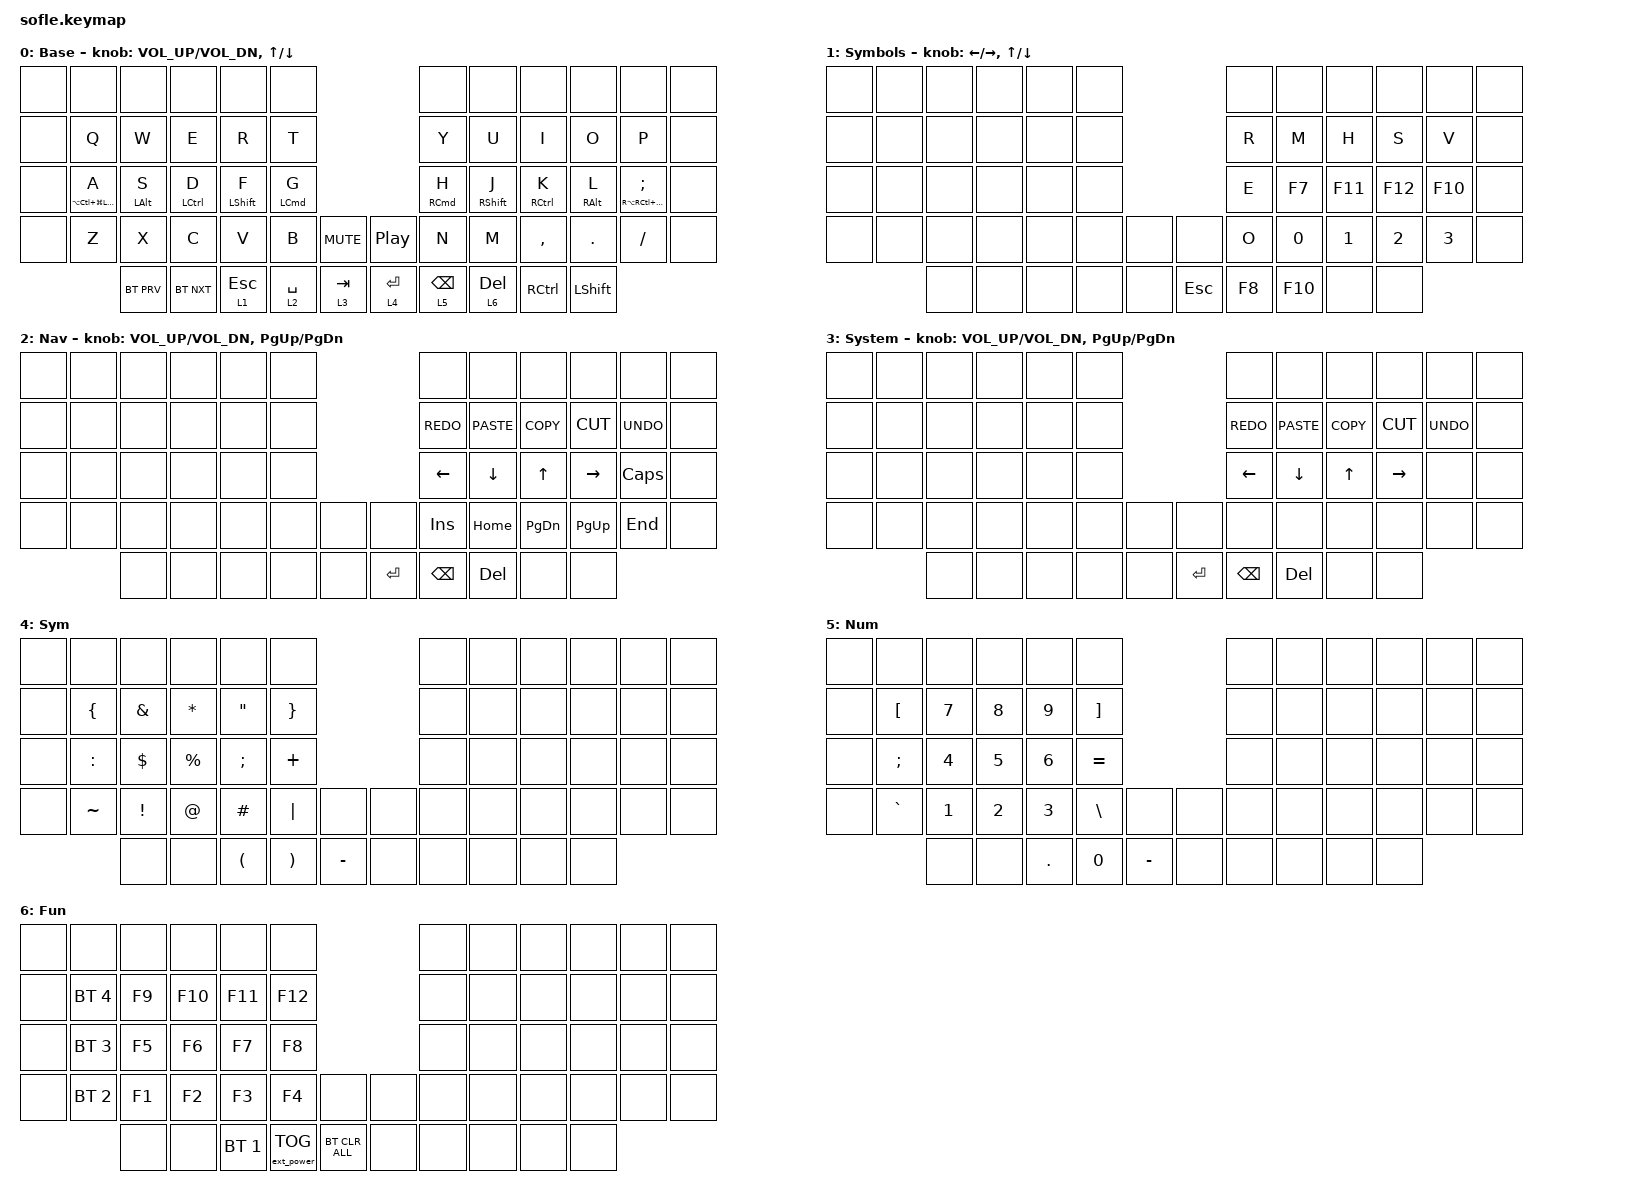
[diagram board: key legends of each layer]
/*
 * Copyright (c) 2020 The ZMK Contributors
 *
 * SPDX-License-Identifier: MIT
 */

#include <behaviors.dtsi>
#include <dt-bindings/zmk/bt.h>
#include <dt-bindings/zmk/ext_power.h>
#include <dt-bindings/zmk/keys.h>

// Encoders

&sensors { triggers-per-rotation = <30>; };

&left_encoder { steps = <60>; };

&right_encoder { steps = <60>; };

#define BASE 0
#define LOWER 1
#define RAISE 2
#define ADJUST 3

&mt { flavor = "tap-preferred"; };

&lt { flavor = "tap-preferred"; };

/ {
    // Activate ADJUST layer by pressing raise and lower

    conditional_layers {
        compatible = "zmk,conditional-layers";

        adjust_layer {
            if-layers = <1 2>;
            then-layer = <3>;
        };
    };

    combos {
        compatible = "zmk,combos";

        backspace {
            bindings = <&kp BACKSPACE>;
            key-positions = <32 31>;
        };

        delete {
            bindings = <&kp DELETE>;
            key-positions = <27 33>;
        };

        esc {
            bindings = <&kp ESCAPE>;
            key-positions = <25 41>;
        };
    };

    behaviors {
        caps: caps {
            compatible = "zmk,behavior-caps-word";
            label = "CAPS";
            #binding-cells = <0>;
            continue-list = <POUND MINUS BACKSPACE UNDERSCORE>;
        };
    };

    keymap {
        compatible = "zmk,keymap";

        default_layer {
            display-name = "Base";

            // ------------------------------------------------------------------------------------------------------------
            // |   `   |  1  |  2  |  3   |  4   |  5   |                   |  6   |  7    |  8    |  9   |   0   |       |
            // |  ESC  |  Q  |  W  |  E   |  R   |  T   |                   |  Y   |  U    |  I    |  O   |   P   | BKSPC |
            // |  TAB  |  A  |  S  |  D   |  F   |  G   |                   |  H   |  J    |  K    |  L   |   ;   |   '   |
            // | SHIFT |  Z  |  X  |  C   |  V   |  B   |  MUTE  |  |       |  N   |  M    |  ,    |  .   |   /   | SHIFT |
            //               | GUI | ALT  | CTRL | LOWER|  ENTER |  | SPACE | RAISE| CTRL  | ALT   | GUI  |

            bindings = <
&none  &none                         &none           &none               &none             &none                                               &none                &none              &none                &none            &none                                  &none
&none  &kp Q                         &kp W           &kp E               &kp R             &kp T                                               &kp Y                &kp U              &kp I                &kp O            &kp P                                  &none
&none  &mt LA(LC(LG(LEFT_SHIFT))) A  &mt LEFT_ALT S  &mt LEFT_CONTROL D  &mt LEFT_SHIFT F  &mt LEFT_COMMAND G                                  &mt RIGHT_COMMAND H  &mt RIGHT_SHIFT J  &mt RIGHT_CONTROL K  &mt RIGHT_ALT L  &mt RA(RC(RG(RIGHT_SHIFT))) SEMICOLON  &none
&none  &kp Z                         &kp X           &kp C               &kp V             &kp B               &kp C_MUTE    &kp C_PLAY_PAUSE  &kp N                &kp M              &kp COMMA            &kp DOT          &kp FSLH                               &none
                                     &bt BT_PRV      &bt BT_NXT          &lt 1 ESCAPE      &lt 2 SPACE         &lt 3 TAB     &lt 4 ENTER       &lt 5 BACKSPACE      &lt 6 DELETE       &kp RIGHT_CONTROL    &kp LEFT_SHIFT
            >;

            sensor-bindings = <&inc_dec_kp C_VOL_UP C_VOL_DN &inc_dec_kp UP DOWN>;
        };

        Media {
            display-name = "Symbols";

            // TODO: Some binds are waiting for shifted keycode support.
            // ------------------------------------------------------------------------------------------------------------
            // |       |  F1 |  F2 |  F3  |  F4  |  F5  |                   |  F6  |  F7   |  F8   |  F9  |  F10  |  F11  |
            // |   `   |  1  |  2  |  3   |  4   |  5   |                   |  6   |  7    |  8    |  9   |   0   |  F12  |
            // |       |  !  |  @  |  #   |  $   |  %   |                   |  ^   |  &    |  *    |  (   |   )   |   |   |
            // |       |  =  |  -  |  +   |  {   |  }   |        |  |       |  [   |  ]    |  ;    |  :   |   \   |       |
            //               |     |      |      |      |        |  |       |      |       |       |      |

            bindings = <
&none  &none  &none  &none  &none  &none                       &none   &none    &none    &none    &none    &none
&none  &none  &none  &none  &none  &none                       &kp R   &kp M    &kp H    &kp S    &kp V    &none
&none  &none  &none  &none  &none  &none                       &kp E   &kp F7   &kp F11  &kp F12  &kp F10  &none
&none  &none  &none  &none  &none  &none  &none    &none       &kp O   &kp N0   &kp N1   &kp N2   &kp N3   &none
              &none  &none  &none  &none  &none    &kp ESCAPE  &kp F8  &kp F10  &none    &none
            >;

            sensor-bindings =
                <&inc_dec_kp LEFT_ARROW RIGHT_ARROW>,
                <&inc_dec_kp UP_ARROW DOWN_ARROW>;
        };

        Navigation {
            display-name = "Nav";

            // ------------------------------------------------------------------------------------------------------------
            // | BTCLR | BT1  | BT2  |  BT3  |  BT4  |  BT5 |                |      |      |       |      |       |       |
            // |       | INS  | PSCR | GUI   |       |      |                | PGUP |      |   ^   |      |       |       |
            // |       | ALT  | CTRL | SHIFT |       | CAPS |                | PGDN |   <- |   v   |  ->  |  DEL  | BKSPC |
            // |       | UNDO | CUT  | COPY  | PASTE |      |      |  |      |      |      |       |      |       |       |
            //                |      |       |       |      |      |  |      |      |      |       |      |

            bindings = <
&none  &none  &none  &none  &none  &none                      &none           &none           &none          &none        &none         &none
&none  &none  &none  &none  &none  &none                      &kp K_REDO      &kp K_PASTE     &kp K_COPY     &kp K_CUT    &kp K_UNDO    &none
&none  &none  &none  &none  &none  &none                      &kp LEFT_ARROW  &kp DOWN_ARROW  &kp UP_ARROW   &kp RIGHT    &kp CAPSLOCK  &none
&none  &none  &none  &none  &none  &none  &none    &none      &kp INSERT      &kp HOME        &kp PAGE_DOWN  &kp PAGE_UP  &kp END       &none
              &none  &none  &none  &none  &none    &kp ENTER  &kp BACKSPACE   &kp DELETE      &none          &none
            >;

            sensor-bindings = <&inc_dec_kp C_VOL_UP C_VOL_DN &inc_dec_kp PG_UP PG_DN>;
        };

        Mouse {
            // ----------------------------------------------------------------------------------------------------------------------------
            // | BTCLR  |  BT1    |  BT2    |   BT3   |   BT4   |   BT5   |                  |      |      |       |      |       |       |
            // | EXTPWR | RGB_HUD | RGB_HUI | RGB_SAD | RGB_SAI | RGB_EFF |                  |      |      |       |      |       |       |
            // |        | RGB_BRD | RGB_BRI |         |         |         |                  |      |      |       |      |       |       |
            // |        |         |         |         |         |         | RGB_TOG | |      |      |      |       |      |       |       |
            //                    |         |         |         |         |         | |      |      |      |       |      |

            display-name = "System";
            bindings = <
&none  &none  &none  &none  &none  &none                      &none           &none           &none         &none            &none       &none
&none  &none  &none  &none  &none  &none                      &kp K_REDO      &kp K_PASTE     &kp K_COPY    &kp K_CUT        &kp K_UNDO  &none
&none  &none  &none  &none  &none  &none                      &kp LEFT_ARROW  &kp DOWN_ARROW  &kp UP_ARROW  &kp RIGHT_ARROW  &none       &none
&none  &none  &none  &none  &none  &none  &none    &none      &none           &none           &none         &none            &none       &none
              &none  &none  &none  &none  &none    &kp ENTER  &kp BACKSPACE   &kp DELETE      &none         &none
            >;

            sensor-bindings = <&inc_dec_kp C_VOL_UP C_VOL_DN &inc_dec_kp PG_UP PG_DN>;
        };

        Sym {
            bindings = <
&none  &none           &none            &none         &none                 &none                                      &none  &none  &none  &none  &none  &none
&none  &kp LEFT_BRACE  &kp AMPERSAND    &kp ASTERISK  &kp DOUBLE_QUOTES     &kp RIGHT_BRACE                            &none  &none  &none  &none  &none  &none
&none  &kp COLON       &kp DOLLAR       &kp PERCENT   &kp SEMICOLON         &kp PLUS                                   &none  &none  &none  &none  &none  &none
&none  &kp TILDE       &kp EXCLAMATION  &kp AT_SIGN   &kp HASH              &kp PIPE               &none        &none  &none  &none  &none  &none  &none  &none
                       &none            &none         &kp LEFT_PARENTHESIS  &kp RIGHT_PARENTHESIS  &kp MINUS    &none  &none  &none  &none  &none
            >;
        };

        Num {
            bindings = <
&none  &none      &none   &none   &none    &none                          &none  &none  &none  &none  &none  &none
&none  &kp LBKT   &kp N7  &kp N8  &kp N9   &kp RBKT                       &none  &none  &none  &none  &none  &none
&none  &kp SEMI   &kp N4  &kp N5  &kp N6   &kp EQUAL                      &none  &none  &none  &none  &none  &none
&none  &kp GRAVE  &kp N1  &kp N2  &kp N3   &kp BSLH   &none        &none  &none  &none  &none  &none  &none  &none
                  &none   &none   &kp DOT  &kp N0     &kp MINUS    &none  &none  &none  &none  &none
            >;
        };

        Fun {
            bindings = <
&none  &none         &none   &none    &none         &none                                       &none  &none  &none  &none  &none  &none
&none  &bt BT_SEL 4  &kp F9  &kp F10  &kp F11       &kp F12                                     &none  &none  &none  &none  &none  &none
&none  &bt BT_SEL 3  &kp F5  &kp F6   &kp F7        &kp F8                                      &none  &none  &none  &none  &none  &none
&none  &bt BT_SEL 2  &kp F1  &kp F2   &kp F3        &kp F4             &none             &none  &none  &none  &none  &none  &none  &none
                     &none   &none    &bt BT_SEL 1  &ext_power EP_TOG  &bt BT_CLR_ALL    &none  &none  &none  &none  &none
            >;
        };
    };
};
